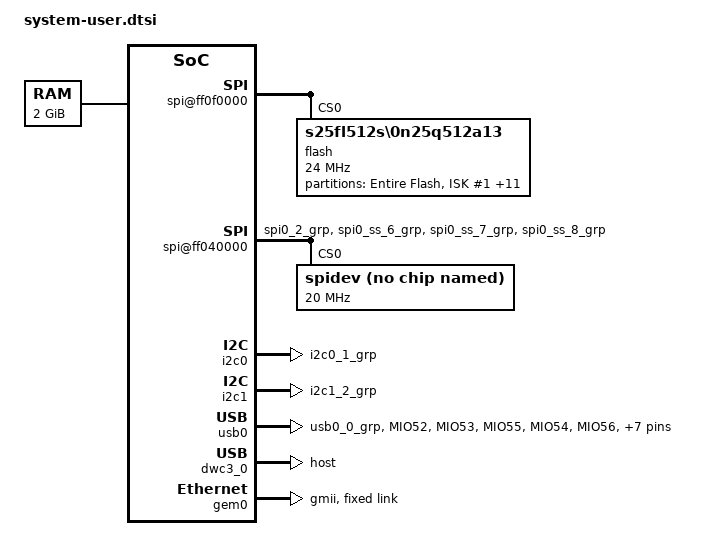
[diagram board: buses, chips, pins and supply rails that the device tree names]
/include/ "system-conf.dtsi"
#include "dt-bindings/input/input.h"
#include "dt-bindings/gpio/gpio.h"
#include "dt-bindings/pinctrl/pinctrl-zynqmp.h"
#include "dt-bindings/phy/phy.h"

/ {

        amba {
                /* ethernet@ff0b0000 { */
                /*         status = "okay"; */
			/* phy-mode = "sgmii"; */
			/* local-mac-address = [ 00 0a 35 00 22 01 ]; */
			/* is-internal-pcspma; */
			/* fixed-link  = <0 1 1000 0 0>; */
                /* }; */
		/* ethernet@ff0b0000{ */
           /* phy-mode = "gmii"; */
           /* status = "okay"; */
           /* fixed-link { */
               /* speed = <1000>; */
               /* full-duplex = <1>; */
                /* /1* reg = <1>; *1/ */
           /* }; */
        /* }; */


		spi@ff0f0000 {
            /* has-io-mode; */
			flash@0 {
				compatible = "s25fl512s\0n25q512a13";
				reg = < 0x00 >;
				#address-cells = < 0x01 >;
				#size-cells = < 0x01 >;
				spi-max-frequency = < 24000000 >;
				spi-rx-bus-width = < 0x04 >;
				spi-tx-bus-width = < 0x01 >;

				partition@entire {
					label = "Entire Flash";
					reg = < 0x00000000 0x4000000 >;
				};

                partition@00000000 {
                    label = "ISK #1";
                    reg = < 0x00000000 0x40000 >;
                };

				partition@00040000 {
					label = "BOOT.BIN #1";
					reg = < 0x00040000 0xa00000 >;
				};

                partition@00a40000 {
                    label = "ISK #2";
                    reg = < 0x00a40000 0x40000 >;
                };

				partition@00a80000 {
					label = "BOOT.BIN #2";
					reg = < 0x00a80000 0xa00000 >;
				};

				partition@01480000 {
					label = "bootenv #1";
					reg = < 0x01480000 0x40000 >;
				};

				partition@014c0000 {
					label = "uscript #1";
					reg = < 0x014c0000 0x40000 >;
				};

				partition@01500000 {
					label = "log #1";
					reg = < 0x01500000 0x40000 >;
				};

				partition@01540000 {
					label = "bootenv #2";
					reg = < 0x01540000 0x40000 >;
				};

				partition@01580000 {
					label = "uscript #2";
					reg = < 0x01580000 0x40000 >;
				};

				partition@015c0000 {
					label = "log #2";
					reg = < 0x015c0000 0x40000 >;
				};

				partition@01600000 {
					label = "qboot";
					reg = < 0x01600000 0x1a00000 >;
				};

				partition@03000000 {
					label = "FDR";
					reg = < 0x03000000 0x1000000 >;
				};
			};
		};
                /delete-node/ perf-monitor@ffa00000;
                /delete-node/ perf-monitor@fd490000;

		spi@ff040000 {
			status = "okay";
			pinctrl-names = "default";
			pinctrl-0 = <&pinctrl_spi0_default>;
                        spidev@0 {
				compatible = "rohm,dh2228fv";
				reg = <0>; 
				spi-max-frequency = <20000000>;
				spi-cpha;
				spi-cpol;
			};
                };

		};

     /* &ethernet0 { */
     /*       phy-mode = "gmii"; */
     /*       status = "okay"; */
     /*       fixed-link { */
     /*           speed = <1000>; */
     /*           full-duplex = <1>; */
     /*            /1* reg = <1>; *1/ */
     /*       }; */
     /*    }; */

	amba_pl@0 {
		/*
		PL_PS_Group0: GIC IRQ 121 to 128
		PL_PS_Group1: GIC IRQ 136 to 143

		interrupts = < spi, index, trigger >
		spi:
			0 = interrupt is specific to a single processor
			1 = interrupt can be routed to any specified processors
		index:
			if non-spi, index = IRQ - 32
			if spi, index = IRQ - 16
		trigger:
			1 = low-to-high edge triggered
			2 = high-to-low edge triggered
			4 = active high level-sensitive
			8 = active low level-sensitive
		*/

		PL_PS_IRQ0_0 {
			compatible = "generic-uio";
			interrupt-parent = < &gic >;
			interrupts = < 0x01 0x69 0x04 >;
		};
		PL_PS_IRQ0_1 {
			compatible = "generic-uio";
			interrupt-parent = < &gic >;
			interrupts = < 0x01 0x6a 0x04 >;
		};
		PL_PS_IRQ0_2 {
			compatible = "generic-uio";
			interrupt-parent = < &gic >;
			interrupts = < 0x01 0x6b 0x04 >;
		};
		PL_PS_IRQ0_3 {
			compatible = "generic-uio";
			interrupt-parent = < &gic >;
			interrupts = < 0x01 0x6c 0x04 >;
		};
		PL_PS_IRQ0_4 {
			compatible = "generic-uio";
			interrupt-parent = < &gic >;
			interrupts = < 0x01 0x6d 0x04 >;
		};
		PL_PS_IRQ0_5 {
			compatible = "generic-uio";
			interrupt-parent = < &gic >;
			interrupts = < 0x01 0x6e 0x04 >;
		};
		PL_PS_IRQ0_6 {
			compatible = "generic-uio";
			interrupt-parent = < &gic >;
			interrupts = < 0x01 0x6f 0x04 >;
		};
		PL_PS_IRQ0_7 {
			compatible = "generic-uio";
			interrupt-parent = < &gic >;
			interrupts = < 0x01 0x70 0x04 >;
		};

		PL_PS_IRQ1_0 {
			compatible = "generic-uio";
			interrupt-parent = < &gic >;
			interrupts = < 0x01 0x78 0x04 >;
		};
		PL_PS_IRQ1_1 {
			compatible = "generic-uio";
			interrupt-parent = < &gic >;
			interrupts = < 0x01 0x79 0x04 >;
		};
		PL_PS_IRQ1_2 {
			compatible = "generic-uio";
			interrupt-parent = < &gic >;
			interrupts = < 0x01 0x7a 0x04 >;
		};
		PL_PS_IRQ1_3 {
			compatible = "generic-uio";
			interrupt-parent = < &gic >;
			interrupts = < 0x01 0x7b 0x04 >;
		};
		PL_PS_IRQ1_4 {
			compatible = "generic-uio";
			interrupt-parent = < &gic >;
			interrupts = < 0x01 0x7c 0x04 >;
		};
		PL_PS_IRQ1_5 {
			compatible = "generic-uio";
			interrupt-parent = < &gic >;
			interrupts = < 0x01 0x7d 0x04 >;
		};
		PL_PS_IRQ1_6 {
			compatible = "generic-uio";
			interrupt-parent = < &gic >;
			interrupts = < 0x01 0x7e 0x04 >;
		};
		PL_PS_IRQ1_7 {
			compatible = "generic-uio";
			interrupt-parent = < &gic >;
			interrupts = < 0x01 0x7f 0x04 >;
		};
	};

	chosen {
		bootargs = "earlycon console=ttyPS0,115200 clk_ignore_unused uio_pdrv_genirq.of_id=generic-uio";
	};

	memory {
		reg = <0x0 0x0 0x0 0x7ff00000>;
	};
    reserved-memory {
        #address-cells = <2>;
        #size-cells = <2>;
        ranges;
        rproc_0_dma: rproc@3ed40000 {
            no-map;
            compatible = "shared-dma-pool";
            reg = <0x0 0x3ed40000 0x0 0x100000>;
        };
        rproc_0_reserved: rproc@3ed00000 {
            no-map;
            reg = <0x0 0x3ed00000 0x0 0x40000>;
        };
    };

    zynqmp-rpu@ff9a0000 {
        compatible = "xlnx,zynqmp-r5-remoteproc-1.0";
        #address-cells = <2>;
        #size-cells = <2>;
        ranges;
        core_conf = "split";
        reg = <0x0 0xFF9A0000 0x0 0x10000>;
        r5_0: r5@ff9a0100 {
            #address-cells = <2>;
            #size-cells = <2>;
            reg = <0x0 0xFF9A0100 0x0 0x100>;
            ranges;
            memory-region = <&rproc_0_reserved>, <&rproc_0_dma>;
            pnode-id = <0x7>;
            mboxes = <&ipi_mailbox_rpu0 0>, <&ipi_mailbox_rpu0 1>;
            mbox-names = "tx", "rx";
            tcm_0_a: tcm_0@0 {
                reg = <0x0 0xFFE00000 0x0 0x10000>;
                pnode-id = <0xf>;
             };
            tcm_0_b: tcm_0@1 {
                reg = <0x0 0xFFE20000 0x0 0x10000>;
                pnode-id = <0x10>;
             };
          };
    };
    
    zynqmp_ipi1 {
        compatible = "xlnx,zynqmp-ipi-mailbox";
        interrupt-parent = <&gic>;
        interrupts = <0 29 4>;
        xlnx,ipi-id = <7>;
        #address-cells = <1>;
        #size-cells = <1>;
        ranges;
    
        /* APU<->RPU0 IPI mailbox controller */
        ipi_mailbox_rpu0: mailbox@ff990600 {
            reg = <0xff990600 0x20>,
                  <0xff990620 0x20>,
                  <0xff9900c0 0x20>,
                  <0xff9900e0 0x20>;
            reg-names = "local_request_region",
                        "local_response_region",
                        "remote_request_region",
                        "remote_response_region";
            #mbox-cells = <1>;
            xlnx,ipi-id = <1>;
        };
                      
    };

};

&pinctrl0 {
        status = "okay";
        pinctrl_i2c0_default: i2c0-default {
                mux {
                        groups = "i2c0_1_grp";
                        function = "i2c0";
                };

                conf {
                        groups = "i2c0_1_grp";
                        bias-pull-up;
			slew-rate = <SLEW_RATE_SLOW>;
			io-standard = <IO_STANDARD_LVCMOS18>;
                };
        };

        pinctrl_i2c0_gpio: i2c0-gpio {
                mux {
                        groups = "gpio0_6_grp", "gpio0_7_grp";
                        function = "gpio0";
                };

                conf {
                        groups = "gpio0_6_grp", "gpio0_7_grp";
                        slew-rate = <SLEW_RATE_SLOW>;
                        io-standard = <IO_STANDARD_LVCMOS18>;
                };
        };

        pinctrl_i2c1_default: i2c1-default {
                mux {
                        groups = "i2c1_2_grp";
                        function = "i2c1";
                };

                conf {
                        groups = "i2c1_2_grp";
                        bias-pull-up;
                        slew-rate = <SLEW_RATE_SLOW>;
                        io-standard = <IO_STANDARD_LVCMOS18>;
                };
        };

        pinctrl_i2c1_gpio: i2c1-gpio {
                mux {
                        groups = "gpio0_8_grp", "gpio0_9_grp";
                        function = "gpio0";
                };

                conf {
                        groups = "gpio0_8_grp", "gpio0_9_grp";
                        slew-rate = <SLEW_RATE_SLOW>;
                        io-standard = <IO_STANDARD_LVCMOS18>;
                };
        };

        pinctrl_usb0_default:usb0-default {
                mux {
                        groups = "usb0_0_grp";
                        function = "usb0";
                };

                conf {
                        groups = "usb0_0_grp";
                        slew-rate = <SLEW_RATE_SLOW>;
                        io-standard = <IO_STANDARD_LVCMOS18>;
                };

		conf-rx {
			pins = "MIO52", "MIO53", "MIO55";
			bias-high-impedance;
		};

		conf-tx {
			pins = "MIO54", "MIO56", "MIO57", "MIO58", "MIO59",
			       "MIO60", "MIO61", "MIO62", "MIO63";
			bias-disable;
		};
        };

	pinctrl_spi0_default:spi0-default {
		mux {
			groups = "spi0_2_grp";
			function = "spi0";
		};

		conf {
			groups = "spi0_2_grp";
			bias-disable;
                        slew-rate = <SLEW_RATE_SLOW>;
                        io-standard = <IO_STANDARD_LVCMOS33>;
		};

                mux-cs {

                        groups = "spi0_ss_6_grp", "spi0_ss_7_grp", "spi0_ss_8_grp";
                        function = "spi0_ss";
                };

                conf-cs {

                        groups = "spi0_ss_6_grp", "spi0_ss_7_grp", "spi0_ss_8_grp";
                        bias-disable;
                };

	};
};

&i2c0 {
	status = "okay";
	pinctrl-names = "default", "gpio";
	pinctrl-0 = <&pinctrl_i2c0_default>;
	pinctrl-1 = <&pinctrl_i2c0_gpio>;
};

&i2c1 {
        status = "okay";
        pinctrl-names = "default", "gpio";
        pinctrl-0 = <&pinctrl_i2c1_default>;
        pinctrl-1 = <&pinctrl_i2c1_gpio>;
};


&usb0 {
	status = "okay";
	pinctrl-names = "default";
	pinctrl-0 = <&pinctrl_usb0_default>;
};

&dwc3_0 {
	status = "okay";
	dr_mode = "host";
	snps,usb3_1pm_capable;
	phy-names = "usb2-phy";
	maximum-speed = "high-speed";
};
&gem0{
    phy-mode = "gmii";
    status = "okay";
    fixed-link {
    speed = <1000>;
    full-duplex = <1>;
    /* reg = <1>; */
    };
};


